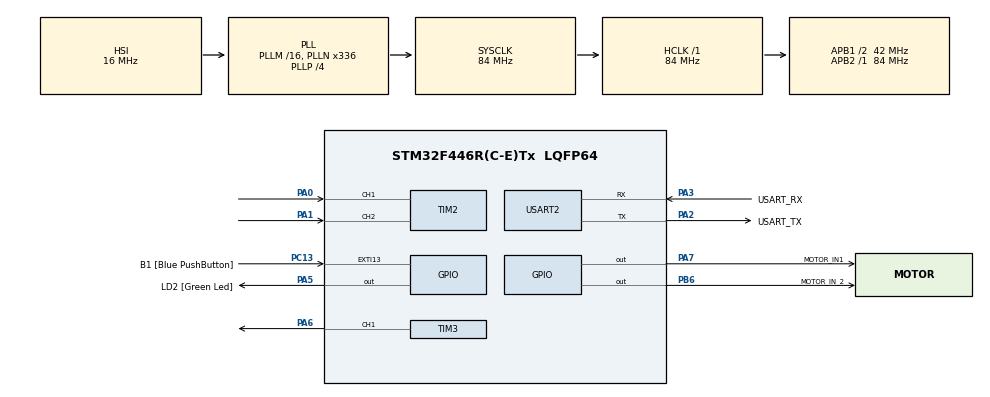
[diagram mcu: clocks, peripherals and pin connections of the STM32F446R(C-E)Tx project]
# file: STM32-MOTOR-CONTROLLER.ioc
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Mcu.Family=STM32F4
Mcu.Name=STM32F446R(C-E)Tx
Mcu.Package=LQFP64
NVIC.PriorityGroup=NVIC_PRIORITYGROUP_0
PA0-WKUP.Signal=S_TIM2_CH1_ETR
PA1.Signal=S_TIM2_CH2
PA13.GPIO_Label=TMS
PA13.Signal=SYS_JTMS-SWDIO
PA14.GPIO_Label=TCK
PA14.Signal=SYS_JTCK-SWCLK
PA2.GPIO_Label=USART_TX
PA2.Mode=Asynchronous
PA2.Signal=USART2_TX
PA3.GPIO_Label=USART_RX
PA3.Mode=Asynchronous
PA3.Signal=USART2_RX
PA5.GPIO_Label=LD2 [Green Led]
PA5.Signal=GPIO_Output
PA6.Signal=S_TIM3_CH1
PA7.GPIO_Label=MOTOR_IN1
PA7.Signal=GPIO_Output
PB3.GPIO_Label=SWO
PB3.Signal=SYS_JTDO-SWO
PB6.GPIO_Label=MOTOR_IN_2
PB6.Signal=GPIO_Output
PC13.GPIO_Label=B1 [Blue PushButton]
PC13.GPIO_ModeDefaultEXTI=GPIO_MODE_IT_FALLING
PC13.Signal=GPXTI13
PC14-OSC32_IN.Signal=RCC_OSC32_IN
PC15-OSC32_OUT.Signal=RCC_OSC32_OUT
PH0-OSC_IN.Signal=RCC_OSC_IN
PH1-OSC_OUT.Signal=RCC_OSC_OUT
ProjectManager.HeapSize=0x200
ProjectManager.StackSize=0x400
ProjectManager.TargetToolchain=STM32CubeIDE
RCC.AHBFreq_Value=84000000
RCC.APB1CLKDivider=RCC_HCLK_DIV2
RCC.APB1Freq_Value=42000000
RCC.APB1TimFreq_Value=84000000
RCC.APB2Freq_Value=84000000
RCC.APB2TimFreq_Value=84000000
RCC.CortexFreq_Value=84000000
RCC.FLatency-AdvancedSettings=FLASH_LATENCY_2
RCC.HCLKFreq_Value=84000000
RCC.HSE_VALUE=8000000
RCC.HSI_VALUE=16000000
RCC.LSE_VALUE=32768
RCC.PLLN=336
RCC.PLLP=RCC_PLLP_DIV4
RCC.SYSCLKFreq_VALUE=84000000
RCC.SYSCLKSource=RCC_SYSCLKSOURCE_PLLCLK
RCC.USBFreq_Value=168000000
RCC.VCOOutputFreq_Value=336000000
SH.S_TIM2_CH1_ETR.0=TIM2_CH1,Encoder_Interface
SH.S_TIM2_CH2.0=TIM2_CH2,Encoder_Interface
SH.S_TIM3_CH1.0=TIM3_CH1,PWM Generation1 CH1
TIM3.Channel-PWM\ Generation1\ CH1=TIM_CHANNEL_1
TIM3.Period=99
TIM3.Prescaler=83
TIM3.Pulse-PWM\ Generation1\ CH1=50
USART2.VirtualMode=VM_ASYNC
board=NUCLEO-F446RE

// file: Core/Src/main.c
/* USER CODE BEGIN Header */
/**
  ******************************************************************************
  * @file           : main.c
  * @brief          : Main program body
  ******************************************************************************
  * @attention
  *
  * Copyright (c) 2026 STMicroelectronics.
  * All rights reserved.
  *
  * This software is licensed under terms that can be found in the LICENSE file
  * in the root directory of this software component.
  * If no LICENSE file comes with this software, it is provided AS-IS.
  *
  ******************************************************************************
  */
/* USER CODE END Header */
#include "main.h"

/* USER CODE BEGIN Includes */
#include <stdio.h>
#include <string.h>
/* USER CODE END Includes */

/* USER CODE BEGIN PD */
#define ENCODER_COUNTS_PER_REV 1940.0f
#define TARGET_RPM 50.0f
#define KP 2.0f
#define MIN_PWM 60.0f
/* USER CODE END PD */

TIM_HandleTypeDef htim2;
TIM_HandleTypeDef htim3;

UART_HandleTypeDef huart2;

/* USER CODE BEGIN PV */
int motor_duty = 85;
/* USER CODE END PV */

void SystemClock_Config(void);
static void MX_GPIO_Init(void);
static void MX_TIM3_Init(void);
static void MX_TIM2_Init(void);
static void MX_USART2_UART_Init(void);

int main(void)
{

  /* USER CODE BEGIN 1 */
	int previous_count = 0;
	int current_count = 0;
	int delta_count = 0;

	int previous_time = 0;
	int current_time = 0;
	int delta_time = 0;

	float rpm = 0.0f;

	float error;
	float pwm;

	char message[64];
  /* USER CODE END 1 */

  /* MCU Configuration--------------------------------------------------------*/

  /* Reset of all peripherals, Initializes the Flash interface and the Systick. */
  HAL_Init();

  /* Configure the system clock */
  SystemClock_Config();

  /* Initialize all configured peripherals */
  MX_GPIO_Init();
  MX_TIM3_Init();
  MX_TIM2_Init();
  MX_USART2_UART_Init();
  /* USER CODE BEGIN 2 */
  HAL_TIM_PWM_Start(&htim3, TIM_CHANNEL_1);
  HAL_TIM_Encoder_Start(&htim2, TIM_CHANNEL_ALL);

  HAL_GPIO_WritePin(MOTOR_IN1_GPIO_Port, MOTOR_IN1_Pin, GPIO_PIN_SET);
  HAL_GPIO_WritePin(MOTOR_IN_2_GPIO_Port, MOTOR_IN_2_Pin, GPIO_PIN_RESET);

  __HAL_TIM_SET_COMPARE(&htim3, TIM_CHANNEL_1, motor_duty);
  __HAL_TIM_SET_COUNTER(&htim2, 0);

  previous_count = (int)__HAL_TIM_GET_COUNTER(&htim2);
  previous_time = HAL_GetTick();
  /* USER CODE END 2 */

  /* Infinite loop */
  while (1)
  {

    /* USER CODE BEGIN 3 */
	  current_count = (int)__HAL_TIM_GET_COUNTER(&htim2);
	  current_time = HAL_GetTick();

	  delta_count = current_count - previous_count;
	  delta_time = current_time - previous_time;
	  rpm = ((float)delta_count / ENCODER_COUNTS_PER_REV) * (60000 / (float)delta_time); // RPM = (counts/(count/rev)) x (60,000 / dT in ms)
	  previous_count = current_count;
	  previous_time = current_time;

	  error = TARGET_RPM -rpm;

	  pwm = MIN_PWM + (KP * error);

	  if (pwm > 100){
		  pwm = 100;
	  }

	  if (pwm < 0){
		  pwm = 0;
	  }

	  __HAL_TIM_SET_COMPARE(&htim3, TIM_CHANNEL_1, (int)pwm);

	  snprintf(message, sizeof(message), "RPM: %d PWM: %d ERROR: %d\r\n", (int)rpm, (int)pwm, (int)error);

	  HAL_UART_Transmit(&huart2, (uint8_t *)message, strlen(message), HAL_MAX_DELAY);

	  HAL_Delay(500);
  }
  /* USER CODE END 3 */
}

void SystemClock_Config(void)
{
  RCC_OscInitTypeDef RCC_OscInitStruct = {0};
  RCC_ClkInitTypeDef RCC_ClkInitStruct = {0};

  /** Configure the main internal regulator output voltage
  */
  __HAL_RCC_PWR_CLK_ENABLE();
  __HAL_PWR_VOLTAGESCALING_CONFIG(PWR_REGULATOR_VOLTAGE_SCALE3);

  /** Initializes the RCC Oscillators according to the specified parameters
  * in the RCC_OscInitTypeDef structure.
  */
  RCC_OscInitStruct.OscillatorType = RCC_OSCILLATORTYPE_HSI;
  RCC_OscInitStruct.HSIState = RCC_HSI_ON;
  RCC_OscInitStruct.HSICalibrationValue = RCC_HSICALIBRATION_DEFAULT;
  RCC_OscInitStruct.PLL.PLLState = RCC_PLL_ON;
  RCC_OscInitStruct.PLL.PLLSource = RCC_PLLSOURCE_HSI;
  RCC_OscInitStruct.PLL.PLLM = 16;
  RCC_OscInitStruct.PLL.PLLN = 336;
  RCC_OscInitStruct.PLL.PLLP = RCC_PLLP_DIV4;
  RCC_OscInitStruct.PLL.PLLQ = 2;
  RCC_OscInitStruct.PLL.PLLR = 2;
  if (HAL_RCC_OscConfig(&RCC_OscInitStruct) != HAL_OK)
  {
    Error_Handler();
  }

  /** Initializes the CPU, AHB and APB buses clocks
  */
  RCC_ClkInitStruct.ClockType = RCC_CLOCKTYPE_HCLK|RCC_CLOCKTYPE_SYSCLK
                              |RCC_CLOCKTYPE_PCLK1|RCC_CLOCKTYPE_PCLK2;
  RCC_ClkInitStruct.SYSCLKSource = RCC_SYSCLKSOURCE_PLLCLK;
  RCC_ClkInitStruct.AHBCLKDivider = RCC_SYSCLK_DIV1;
  RCC_ClkInitStruct.APB1CLKDivider = RCC_HCLK_DIV2;
  RCC_ClkInitStruct.APB2CLKDivider = RCC_HCLK_DIV1;

  if (HAL_RCC_ClockConfig(&RCC_ClkInitStruct, FLASH_LATENCY_2) != HAL_OK)
  {
    Error_Handler();
  }
}

static void MX_TIM2_Init(void)
{

  TIM_Encoder_InitTypeDef sConfig = {0};
  TIM_MasterConfigTypeDef sMasterConfig = {0};

  htim2.Instance = TIM2;
  htim2.Init.Prescaler = 0;
  htim2.Init.CounterMode = TIM_COUNTERMODE_UP;
  htim2.Init.Period = 4294967295;
  htim2.Init.ClockDivision = TIM_CLOCKDIVISION_DIV1;
  htim2.Init.AutoReloadPreload = TIM_AUTORELOAD_PRELOAD_DISABLE;
  sConfig.EncoderMode = TIM_ENCODERMODE_TI1;
  sConfig.IC1Polarity = TIM_ICPOLARITY_RISING;
  sConfig.IC1Selection = TIM_ICSELECTION_DIRECTTI;
  sConfig.IC1Prescaler = TIM_ICPSC_DIV1;
  sConfig.IC1Filter = 0;
  sConfig.IC2Polarity = TIM_ICPOLARITY_RISING;
  sConfig.IC2Selection = TIM_ICSELECTION_DIRECTTI;
  sConfig.IC2Prescaler = TIM_ICPSC_DIV1;
  sConfig.IC2Filter = 0;
  if (HAL_TIM_Encoder_Init(&htim2, &sConfig) != HAL_OK)
  {
    Error_Handler();
  }
  sMasterConfig.MasterOutputTrigger = TIM_TRGO_RESET;
  sMasterConfig.MasterSlaveMode = TIM_MASTERSLAVEMODE_DISABLE;
  if (HAL_TIMEx_MasterConfigSynchronization(&htim2, &sMasterConfig) != HAL_OK)
  {
    Error_Handler();
  }

}

static void MX_TIM3_Init(void)
{

  TIM_MasterConfigTypeDef sMasterConfig = {0};
  TIM_OC_InitTypeDef sConfigOC = {0};

  htim3.Instance = TIM3;
  htim3.Init.Prescaler = 83;
  htim3.Init.CounterMode = TIM_COUNTERMODE_UP;
  htim3.Init.Period = 99;
  htim3.Init.ClockDivision = TIM_CLOCKDIVISION_DIV1;
  htim3.Init.AutoReloadPreload = TIM_AUTORELOAD_PRELOAD_DISABLE;
  if (HAL_TIM_PWM_Init(&htim3) != HAL_OK)
  {
    Error_Handler();
  }
  sMasterConfig.MasterOutputTrigger = TIM_TRGO_RESET;
  sMasterConfig.MasterSlaveMode = TIM_MASTERSLAVEMODE_DISABLE;
  if (HAL_TIMEx_MasterConfigSynchronization(&htim3, &sMasterConfig) != HAL_OK)
  {
    Error_Handler();
  }
  sConfigOC.OCMode = TIM_OCMODE_PWM1;
  sConfigOC.Pulse = 50;
  sConfigOC.OCPolarity = TIM_OCPOLARITY_HIGH;
  sConfigOC.OCFastMode = TIM_OCFAST_DISABLE;
  if (HAL_TIM_PWM_ConfigChannel(&htim3, &sConfigOC, TIM_CHANNEL_1) != HAL_OK)
  {
    Error_Handler();
  }
  HAL_TIM_MspPostInit(&htim3);

}

static void MX_USART2_UART_Init(void)
{

  huart2.Instance = USART2;
  huart2.Init.BaudRate = 115200;
  huart2.Init.WordLength = UART_WORDLENGTH_8B;
  huart2.Init.StopBits = UART_STOPBITS_1;
  huart2.Init.Parity = UART_PARITY_NONE;
  huart2.Init.Mode = UART_MODE_TX_RX;
  huart2.Init.HwFlowCtl = UART_HWCONTROL_NONE;
  huart2.Init.OverSampling = UART_OVERSAMPLING_16;
  if (HAL_UART_Init(&huart2) != HAL_OK)
  {
    Error_Handler();
  }

}

static void MX_GPIO_Init(void)
{
  GPIO_InitTypeDef GPIO_InitStruct = {0};

  /* GPIO Ports Clock Enable */
  __HAL_RCC_GPIOC_CLK_ENABLE();
  __HAL_RCC_GPIOH_CLK_ENABLE();
  __HAL_RCC_GPIOA_CLK_ENABLE();
  __HAL_RCC_GPIOB_CLK_ENABLE();

  /*Configure GPIO pin Output Level */
  HAL_GPIO_WritePin(GPIOA, LD2_Pin|MOTOR_IN1_Pin, GPIO_PIN_RESET);

  /*Configure GPIO pin Output Level */
  HAL_GPIO_WritePin(MOTOR_IN_2_GPIO_Port, MOTOR_IN_2_Pin, GPIO_PIN_RESET);

  /*Configure GPIO pin : B1_Pin */
  GPIO_InitStruct.Pin = B1_Pin;
  GPIO_InitStruct.Mode = GPIO_MODE_IT_FALLING;
  GPIO_InitStruct.Pull = GPIO_NOPULL;
  HAL_GPIO_Init(B1_GPIO_Port, &GPIO_InitStruct);

  /*Configure GPIO pins : LD2_Pin MOTOR_IN1_Pin */
  GPIO_InitStruct.Pin = LD2_Pin|MOTOR_IN1_Pin;
  GPIO_InitStruct.Mode = GPIO_MODE_OUTPUT_PP;
  GPIO_InitStruct.Pull = GPIO_NOPULL;
  GPIO_InitStruct.Speed = GPIO_SPEED_FREQ_LOW;
  HAL_GPIO_Init(GPIOA, &GPIO_InitStruct);

  /*Configure GPIO pin : MOTOR_IN_2_Pin */
  GPIO_InitStruct.Pin = MOTOR_IN_2_Pin;
  GPIO_InitStruct.Mode = GPIO_MODE_OUTPUT_PP;
  GPIO_InitStruct.Pull = GPIO_NOPULL;
  GPIO_InitStruct.Speed = GPIO_SPEED_FREQ_LOW;
  HAL_GPIO_Init(MOTOR_IN_2_GPIO_Port, &GPIO_InitStruct);

}

void Error_Handler(void)
{
  __disable_irq();
  while (1)
  {
  }
}
